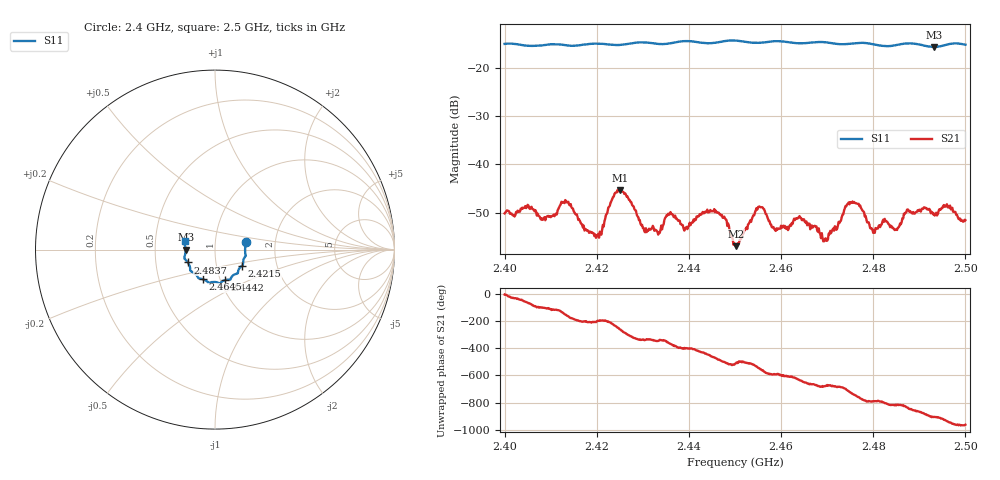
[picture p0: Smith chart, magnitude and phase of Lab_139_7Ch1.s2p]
# Hz S RI R 50
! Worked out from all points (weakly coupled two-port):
!   601 points, 2.4 GHz to 2.5 GHz, reference 50 ohm
!   highest |S21| = -45.35 dB at 2.425 GHz (marker M1); lowest = -57.0 dB at 2.4502 GHz (marker M2)
!   lowest |S11| = -15.7 dB at 2.4932 GHz (marker M3), VSWR 1.39, Z = 35.9 - j0.0429 ohm
!   |S11| at or under -10 dB: start of sweep to end of sweep
!   S12 and S22 are empty: the file has one direction only
!   S11 on the Smith chart (normalised r, x): 2.4 GHz: 1.41, +0.12; 2.4215 GHz: 1.33, -0.25; 2.4442 GHz: 1.05, -0.37; 2.4645 GHz: 0.83, -0.29; 2.4837 GHz: 0.73, -0.11; 2.5 GHz: 0.71, +0.07
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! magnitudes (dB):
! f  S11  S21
! 2.4 GHz  -15.1  -50.2
! 2.4133 GHz  -15.4  -47.7
! 2.4167 GHz  -15.3  -52.4
! 2.4215 GHz  -15.1  -52.9
! 2.425 GHz  -15.3  -45.3
! 2.4333 GHz  -15.1  -54.6
! 2.4357 GHz  -15.0  -50.5
! 2.4393 GHz  -14.5  -53.2
! 2.4442 GHz  -15.0  -50.0
! 2.45 GHz  -14.4  -56.8
! 2.4502 GHz  -14.4  -57.0
! 2.4552 GHz  -14.9  -48.8
! 2.459 GHz  -14.5  -53.3
! 2.4645 GHz  -15.0  -51.5
! 2.4667 GHz  -14.8  -52.6
! 2.4697 GHz  -14.8  -55.3
! 2.4755 GHz  -15.0  -47.7
! 2.4798 GHz  -15.1  -53.6
! 2.4833 GHz  -15.6  -52.4
! 2.4837 GHz  -15.5  -53.0
! 2.4932 GHz  -15.7  -50.2
! 2.5 GHz  -15.3  -51.6
